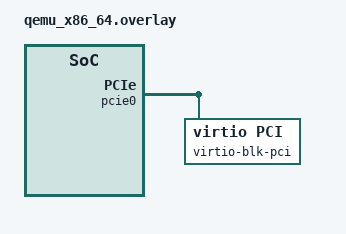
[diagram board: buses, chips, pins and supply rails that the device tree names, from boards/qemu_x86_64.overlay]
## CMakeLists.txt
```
# SPDX-License-Identifier: Apache-2.0

cmake_minimum_required(VERSION 3.20.0)
find_package(Zephyr REQUIRED HINTS $ENV{ZEPHYR_BASE})
project(virtio_blk)

target_sources(app PRIVATE src/main.c)
```

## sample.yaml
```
sample:
  description: Read and write a VirtIO block device through the Disk Access API
  name: VirtIO block disk
common:
  tags:
    - disk
    - drivers
    - virtio
  harness: console
  harness_config:
    type: multi_line
    ordered: true
    regex:
      - "VirtIO block disk VIRTIOBLK0: [0-9]+ sectors of [0-9]+ bytes"
      - "Wrote and verified sector [0-9]+"
      - "Original sector restored"
      - "VirtIO block sample completed successfully"
tests:
  sample.drivers.virtio_blk.pci:
    platform_allow:
      - qemu_x86_64
    integration_platforms:
      - qemu_x86_64
  sample.drivers.virtio_blk.mmio:
    platform_allow:
      - qemu_cortex_a53
    integration_platforms:
      - qemu_cortex_a53
  sample.drivers.virtio_blk.sparrowhawk_xen:
    build_only: true
    extra_args: SNIPPET=xen-guest
    platform_allow:
      - sparrowhawk_rcar_v4h/r8a779g0/a76
```

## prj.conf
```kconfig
CONFIG_DISK_ACCESS=y
CONFIG_DISK_DRIVER_VIRTIO_BLK=y
CONFIG_HEAP_MEM_POOL_SIZE=12288
```

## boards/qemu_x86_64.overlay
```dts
/*
 * SPDX-FileCopyrightText: Copyright The Zephyr Project Contributors
 * SPDX-License-Identifier: Apache-2.0
 */

/ {
	pcie0 {
		virtio-blk-pci {
			compatible = "virtio,pci";
			vendor-id = <0x1af4>;
			device-id = <0x1001>;
			interrupts = <0xb 0x0 0x0>;
			interrupt-parent = <&intc>;
			status = "okay";

			virtio_blk: virtio-blk {
				compatible = "virtio,blk";
				disk-name = "VIRTIOBLK0";
				status = "okay";
			};
		};
	};
};
```

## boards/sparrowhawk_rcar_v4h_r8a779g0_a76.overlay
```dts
/*
 * Copyright (c) 2026 TOKITA Hiroshi
 *
 * SPDX-License-Identifier: Apache-2.0
 */

/ {
	virtio_mmio0: virtio@2000000 {
		compatible = "virtio,mmio";
		reg = <0x0 0x02000000 0x0 0x200>;
		interrupts = <GIC_SPI 1 IRQ_TYPE_EDGE IRQ_DEFAULT_PRIORITY>;
		interrupt-parent = <&gic>;
		status = "okay";

		virtio_blk: virtio-blk {
			compatible = "virtio,blk";
			disk-name = "VIRTIOBLK0";
			status = "okay";
		};
	};
};

/* The Xen guest uses the virtual block device instead of physical SDHI. */
&mmc0 {
	status = "disabled";

	disk {
		status = "disabled";
	};
};

&gpio3 {
	status = "disabled";
};

&gpio8 {
	status = "disabled";
};

&vcc_sdhi {
	status = "disabled";
};
```

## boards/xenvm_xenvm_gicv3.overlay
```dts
/*
 * Copyright (c) 2026 TOKITA Hiroshi
 *
 * SPDX-License-Identifier: Apache-2.0
 */

/ {
	virtio_mmio0: virtio@2000000 {
		compatible = "virtio,mmio";
		reg = <0x0 0x02000000 0x0 0x200>;
		interrupts = <GIC_SPI 1 IRQ_TYPE_EDGE IRQ_DEFAULT_PRIORITY>;
		interrupt-parent = <&gic>;
		status = "okay";

		virtio_blk: virtio-blk {
			compatible = "virtio,blk";
			disk-name = "VIRTIOBLK0";
			status = "okay";
		};
	};
};
```

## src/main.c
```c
/*
 * SPDX-FileCopyrightText: Copyright The Zephyr Project Contributors
 * SPDX-License-Identifier: Apache-2.0
 */

#include <errno.h>
#include <stdint.h>
#include <string.h>

#include <zephyr/kernel.h>
#include <zephyr/storage/disk_access.h>
#include <zephyr/sys/printk.h>

#define DISK_NAME "VIRTIOBLK0"

static uint8_t test_byte(size_t offset)
{
	return (uint8_t)(0xa5U ^ offset);
}

static int restore_sector(uint32_t sector, const uint8_t *data)
{
	int ret;

	ret = disk_access_write(DISK_NAME, data, sector, 1);
	if (ret != 0) {
		printk("Failed to restore sector %u: %d\n", sector, ret);
		return ret;
	}

	ret = disk_access_ioctl(DISK_NAME, DISK_IOCTL_CTRL_SYNC, NULL);
	if (ret != 0) {
		printk("Failed to flush the restored sector: %d\n", ret);
	}

	return ret;
}

int main(void)
{
	uint8_t *original = NULL;
	uint8_t *buffer = NULL;
	uint32_t sector_count;
	uint32_t sector_size;
	uint32_t test_sector;
	bool test_written = false;
	int ret;

	ret = disk_access_init(DISK_NAME);
	if (ret != 0) {
		printk("Failed to initialize %s: %d\n", DISK_NAME, ret);
		return ret;
	}

	ret = disk_access_status(DISK_NAME);
	if (ret != DISK_STATUS_OK) {
		printk("Disk %s is not ready: 0x%x\n", DISK_NAME, ret);
		return -EIO;
	}

	ret = disk_access_ioctl(DISK_NAME, DISK_IOCTL_GET_SECTOR_COUNT, &sector_count);
	if (ret != 0) {
		printk("Failed to get the sector count: %d\n", ret);
		return ret;
	}

	ret = disk_access_ioctl(DISK_NAME, DISK_IOCTL_GET_SECTOR_SIZE, &sector_size);
	if (ret != 0) {
		printk("Failed to get the sector size: %d\n", ret);
		return ret;
	}

	if ((sector_count == 0U) || (sector_size == 0U)) {
		printk("Disk reports an invalid geometry\n");
		return -EINVAL;
	}

	printk("VirtIO block disk %s: %u sectors of %u bytes\n", DISK_NAME, sector_count,
	       sector_size);

	original = k_malloc(sector_size);
	buffer = k_malloc(sector_size);
	if ((original == NULL) || (buffer == NULL)) {
		printk("Failed to allocate sector buffers\n");
		ret = -ENOMEM;
		goto out;
	}

	test_sector = sector_count / 2U;
	ret = disk_access_read(DISK_NAME, original, test_sector, 1);
	if (ret != 0) {
		printk("Failed to save sector %u: %d\n", test_sector, ret);
		goto out;
	}

	for (size_t i = 0; i < sector_size; i++) {
		buffer[i] = test_byte(i);
	}

	ret = disk_access_write(DISK_NAME, buffer, test_sector, 1);
	if (ret != 0) {
		printk("Failed to write sector %u: %d\n", test_sector, ret);
		goto out;
	}
	test_written = true;

	ret = disk_access_ioctl(DISK_NAME, DISK_IOCTL_CTRL_SYNC, NULL);
	if (ret != 0) {
		printk("Failed to flush the test sector: %d\n", ret);
		goto out;
	}

	memset(buffer, 0, sector_size);
	ret = disk_access_read(DISK_NAME, buffer, test_sector, 1);
	if (ret != 0) {
		printk("Failed to read sector %u: %d\n", test_sector, ret);
		goto out;
	}

	for (size_t i = 0; i < sector_size; i++) {
		if (buffer[i] != test_byte(i)) {
			printk("Data mismatch at byte %zu\n", i);
			ret = -EIO;
			goto out;
		}
	}

	printk("Wrote and verified sector %u\n", test_sector);

out:
	if (test_written) {
		int restore_ret = restore_sector(test_sector, original);

		if (restore_ret == 0) {
			printk("Original sector restored\n");
		} else if (ret == 0) {
			ret = restore_ret;
		}
	}

	k_free(buffer);
	k_free(original);

	if (ret == 0) {
		printk("VirtIO block sample completed successfully\n");
	}

	return ret;
}
```
